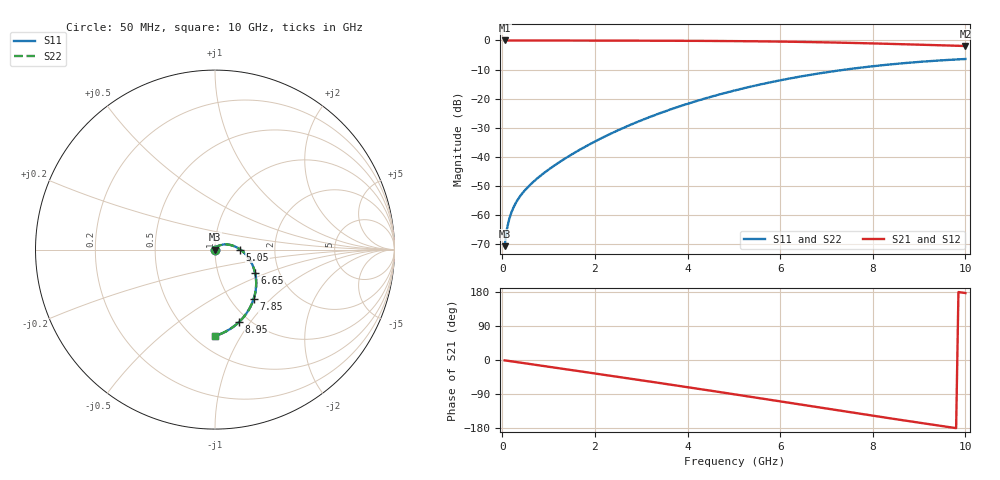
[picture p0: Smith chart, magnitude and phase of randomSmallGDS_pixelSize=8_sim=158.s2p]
! freq	dB(S11)	phase(S11)	dB(S12)	phase(S12)
!  dB(S21)	phase(S21)	dB(S22)	phase(S22)
!S-par simulation data
#  GHz  S  DB  R 50
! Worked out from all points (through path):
!   200 points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, 50 MHz to 10 GHz, reference 50 ohm
!   highest |S21| = 0.00 dB at 50 MHz (marker M1); lowest = -1.9 dB at 10 GHz (marker M2)
!   group delay of S21, straight-line fit = 51.3 ps
!   lowest |S11| = -70.6 dB at 50 MHz (marker M3), VSWR 1.00, Z = 50 + j0.0291 ohm
!   |S11| at or under -10 dB: start of sweep to 7.408 GHz
!   |S22| runs from -70.6 to -6.4 dB; largest |S21 - S12| = 0
!   S11 on the Smith chart (normalised r, x): 50 MHz: 1.00, +0.00; 5.05 GHz: 1.33, +0.00; 6.65 GHz: 1.51, -0.41; 7.85 GHz: 1.27, -0.80; 8.95 GHz: 0.89, -0.88; 10 GHz: 0.63, -0.78
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0.05  -70.60 79.7  -0.00 -0.9  -0.00 -0.9  -70.60 79.7
0.1  -64.70 81.9  -0.00 -1.8  -0.00 -1.8  -64.70 81.9
0.15  -61.27 81.5  -0.00 -2.7  -0.00 -2.7  -61.28 81.5
0.2  -58.87 80.7  -0.00 -3.6  -0.00 -3.6  -58.88 80.7
0.3  -55.53 79.1  -0.01 -5.4  -0.01 -5.4  -55.53 79.1
0.45  -52.13 77.2  -0.01 -8.0  -0.01 -8.0  -52.13 77.2
0.65  -48.81 75.1  -0.02 -11.6  -0.02 -11.6  -48.81 75.2
0.95  -44.89 71.8  -0.02 -16.9  -0.02 -16.9  -44.89 71.9
1.3  -41.07 67.1  -0.03 -23.1  -0.03 -23.1  -41.07 67.1
1.75  -36.82 60.0  -0.04 -31.1  -0.04 -31.1  -36.81 60.1
2.55  -30.46 46.1  -0.06 -45.4  -0.06 -45.4  -30.46 46.2
3.4  -24.98 30.7  -0.09 -60.7  -0.09 -60.7  -24.98 30.7
4.25  -20.51 15.0  -0.14 -76.3  -0.14 -76.3  -20.51 15.1
5.05  -17.04 0.1  -0.23 -91.2  -0.23 -91.2  -17.04 0.2
5.85  -14.16 -14.8  -0.36 -106.3  -0.36 -106.3  -14.16 -14.8
6.65  -11.80 -29.9  -0.55 -121.5  -0.55 -121.5  -11.80 -29.8
6.7  -11.67 -30.8  -0.56 -122.4  -0.56 -122.4  -11.67 -30.7
7.3  -10.23 -42.0  -0.75 -133.8  -0.75 -133.8  -10.23 -41.9
7.85  -9.12 -52.1  -0.95 -144.1  -0.95 -144.1  -9.12 -52.0
8.35  -8.27 -61.1  -1.16 -153.5  -1.16 -153.5  -8.27 -61.1
8.95  -7.42 -71.8  -1.42 -164.5  -1.42 -164.5  -7.42 -71.8
10  -6.37 -89.8  -1.90 176.7  -1.90 176.7  -6.37 -89.8
